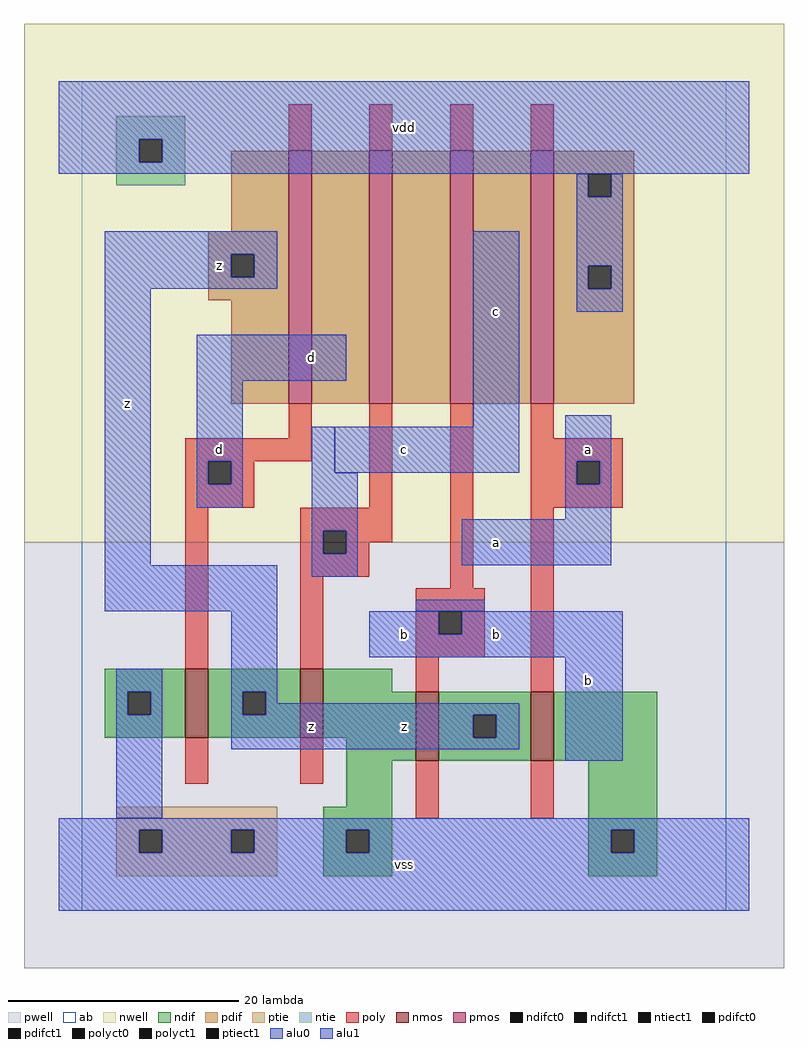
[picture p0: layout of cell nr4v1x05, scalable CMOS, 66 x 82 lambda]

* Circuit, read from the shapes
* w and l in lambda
.subckt nr4v1x05 a b c d vdd vss z
M1 z d vss vss nfet w=6 l=2
M2 vss c z vss nfet w=6 l=2
M3 z b vss vss nfet w=6 l=2
M4 vss a z vss nfet w=6 l=2
M5 n1 d z vdd pfet w=22 l=2
M6 n2 c n1 vdd pfet w=22 l=2
M7 n3 b n2 vdd pfet w=22 l=2
M8 vdd a n3 vdd pfet w=22 l=2
.ends

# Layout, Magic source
magic
tech scmos
<< ab >>
rect 0 0 56 72
<< nwell >>
rect -5 32 61 77
<< pwell >>
rect -5 -5 61 32
<< poly >>
rect 18 66 20 70
rect 25 66 27 70
rect 32 66 34 70
rect 39 66 41 70
rect 18 41 20 44
rect 9 39 20 41
rect 9 37 11 39
rect 13 37 15 39
rect 9 35 15 37
rect 25 35 27 44
rect 9 21 11 35
rect 19 33 27 35
rect 19 31 21 33
rect 23 32 27 33
rect 23 31 25 32
rect 19 29 25 31
rect 19 21 21 29
rect 32 28 34 44
rect 39 41 41 44
rect 39 39 47 41
rect 39 37 43 39
rect 45 37 47 39
rect 39 35 47 37
rect 29 26 35 28
rect 29 24 31 26
rect 33 24 35 26
rect 29 22 35 24
rect 29 19 31 22
rect 39 19 41 35
rect 9 11 11 15
rect 19 11 21 15
rect 29 8 31 13
rect 39 8 41 13
<< ndif >>
rect 2 19 9 21
rect 2 17 4 19
rect 6 17 9 19
rect 2 15 9 17
rect 11 19 19 21
rect 11 17 14 19
rect 16 17 19 19
rect 11 15 19 17
rect 21 19 27 21
rect 21 15 29 19
rect 23 13 29 15
rect 31 17 39 19
rect 31 15 34 17
rect 36 15 39 17
rect 31 13 39 15
rect 41 13 50 19
rect 23 9 27 13
rect 21 7 27 9
rect 21 5 23 7
rect 25 5 27 7
rect 21 3 27 5
rect 44 7 50 13
rect 44 5 46 7
rect 48 5 50 7
rect 44 3 50 5
<< pdif >>
rect 13 59 18 66
rect 11 57 18 59
rect 11 55 13 57
rect 15 55 18 57
rect 11 53 18 55
rect 13 44 18 53
rect 20 44 25 66
rect 27 44 32 66
rect 34 44 39 66
rect 41 64 48 66
rect 41 62 44 64
rect 46 62 48 64
rect 41 56 48 62
rect 41 54 44 56
rect 46 54 48 56
rect 41 44 48 54
<< alu1 >>
rect -2 67 58 72
rect -2 65 5 67
rect 7 65 58 67
rect -2 64 58 65
rect 2 57 17 59
rect 2 55 13 57
rect 15 55 17 57
rect 2 54 17 55
rect 2 30 6 54
rect 10 46 23 50
rect 10 39 14 46
rect 34 42 38 59
rect 10 37 11 39
rect 13 37 14 39
rect 10 35 14 37
rect 22 38 38 42
rect 42 39 46 43
rect 42 37 43 39
rect 45 37 46 39
rect 42 34 46 37
rect 2 26 17 30
rect 33 30 46 34
rect 13 19 17 26
rect 25 24 31 26
rect 33 24 47 26
rect 25 22 47 24
rect 13 17 14 19
rect 16 18 17 19
rect 16 17 38 18
rect 13 15 34 17
rect 36 15 38 17
rect 13 14 38 15
rect 42 13 47 22
rect -2 7 58 8
rect -2 5 5 7
rect 7 5 13 7
rect 15 5 23 7
rect 25 5 46 7
rect 48 5 58 7
rect -2 0 58 5
<< ptie >>
rect 3 7 17 9
rect 3 5 5 7
rect 7 5 13 7
rect 15 5 17 7
rect 3 3 17 5
<< ntie >>
rect 3 67 9 69
rect 3 65 5 67
rect 7 65 9 67
rect 3 63 9 65
<< nmos >>
rect 9 15 11 21
rect 19 15 21 21
rect 29 13 31 19
rect 39 13 41 19
<< pmos >>
rect 18 44 20 66
rect 25 44 27 66
rect 32 44 34 66
rect 39 44 41 66
<< polyct0 >>
rect 21 31 23 33
<< polyct1 >>
rect 11 37 13 39
rect 43 37 45 39
rect 31 24 33 26
<< ndifct0 >>
rect 4 17 6 19
<< ndifct1 >>
rect 14 17 16 19
rect 34 15 36 17
rect 23 5 25 7
rect 46 5 48 7
<< ntiect1 >>
rect 5 65 7 67
<< ptiect1 >>
rect 5 5 7 7
rect 13 5 15 7
<< pdifct0 >>
rect 44 62 46 64
rect 44 54 46 56
<< pdifct1 >>
rect 13 55 15 57
<< alu0 >>
rect 43 62 44 64
rect 46 62 47 64
rect 43 56 47 62
rect 43 54 44 56
rect 46 54 47 56
rect 43 52 47 54
rect 20 38 22 42
rect 20 33 24 38
rect 20 31 21 33
rect 23 31 24 33
rect 20 29 24 31
rect 29 26 35 27
rect 3 19 7 21
rect 3 17 4 19
rect 6 17 7 19
rect 3 8 7 17
<< labels >>
rlabel alu1 4 44 4 44 6 z
rlabel alu1 20 16 20 16 6 z
rlabel alu1 12 40 12 40 6 d
rlabel alu1 20 48 20 48 6 d
rlabel alu1 12 56 12 56 6 z
rlabel alu1 28 4 28 4 6 vss
rlabel alu1 28 16 28 16 6 z
rlabel alu1 28 24 28 24 6 b
rlabel alu1 36 32 36 32 6 a
rlabel alu1 36 24 36 24 6 b
rlabel alu1 28 40 28 40 6 c
rlabel alu1 36 52 36 52 6 c
rlabel alu1 28 68 28 68 6 vdd
rlabel alu1 44 20 44 20 6 b
rlabel alu1 44 40 44 40 6 a
<< end >>
